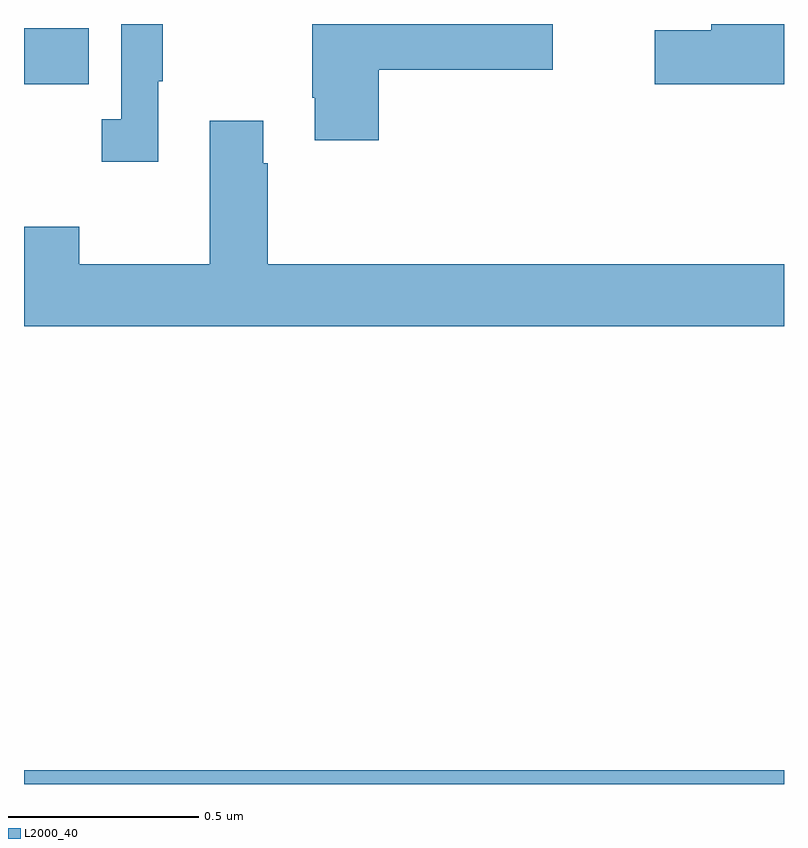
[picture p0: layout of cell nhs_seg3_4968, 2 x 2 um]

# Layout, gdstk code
import gdstk
lib = gdstk.Library(unit=1e-6, precision=1e-09)
def R(c, l, rs):  # rectangles x0, y0, x1, y1
    for r in rs: c.add(gdstk.rectangle(r[:2], r[2:], *l))
def P(c, l, *ps):  # polygons
    for p in ps: c.add(gdstk.Polygon(p, *l))
L2000_40 = (2000, 40)

nhs_seg3_4968 = lib.new_cell('nhs_seg3_4968')
R(nhs_seg3_4968, L2000_40, [(173,678.4,175,678.436), (173,680.242,173.171,680.389)])
P(nhs_seg3_4968, L2000_40, [(175,680.4),(174.809,680.4),(174.809,680.384),(174.66,680.384),(174.66,680.242),(175,680.242)],
  [(173.353,680.249),(173.365,680.249),(173.365,680.4),(173.256,680.4),(173.256,680.15),(173.205,680.15),(173.205,680.037),(173.353,680.037)],
  [(173.933,680.279),(174.391,680.279),(174.391,680.4),(173.758,680.4),(173.758,680.206),(173.765,680.206),(173.765,680.094),(173.933,680.094)],
  [(175,679.768),(173.642,679.768),(173.642,680.033),(173.629,680.033),(173.629,680.146),(173.489,680.146),(173.489,679.768),(173.145,679.768),(173.145,679.867),(173,679.867),(173,679.604),(175,679.604)])

lib.write_gds('nhs_seg3_4968.gds')
